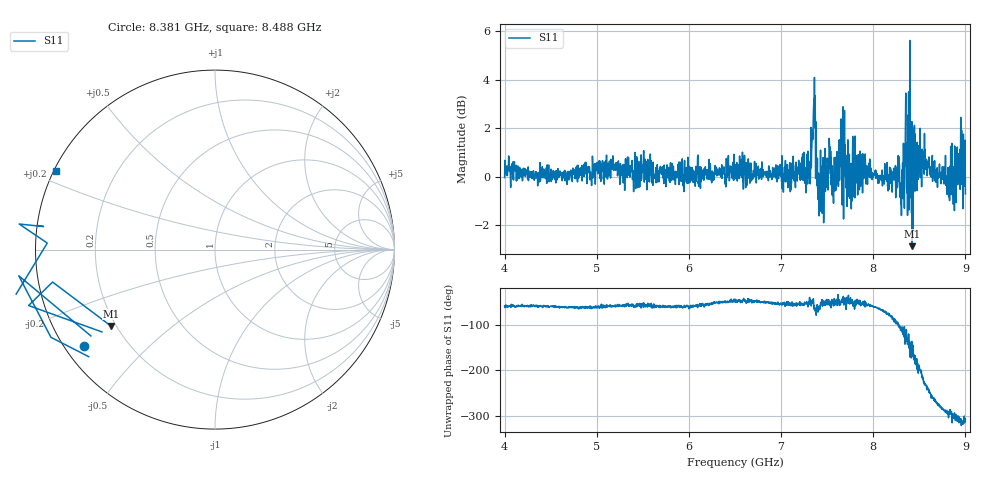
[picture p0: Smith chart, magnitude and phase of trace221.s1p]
! Created with skrf 1.8.0 (http://scikit-rf.org).
# Hz S RI R 50.0
!freq ReS11 ImS11
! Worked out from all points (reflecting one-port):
!   1601 points, 4 GHz to 9 GHz, reference 50 ohm
!   lowest |S11| = -2.9 dB at 8.422 GHz (marker M1), VSWR 6.13, Z = 9.01 - j15.9 ohm
!   phase of S11 starts at -57 deg and turns -251 deg over the sweep
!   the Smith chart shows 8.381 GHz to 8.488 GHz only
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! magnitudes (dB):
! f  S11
! 4 GHz  0.0
! 4.625 GHz  -0.2
! 5.25 GHz  -0.3
! 5.875 GHz  0.2
! 6.5 GHz  0.4
! 7.125 GHz  0.0
! 7.294 GHz  0.1
! 7.322 GHz  1.1
! 7.347 GHz  1.8
! 7.375 GHz  -0.1
! 7.4 GHz  -0.2
! 7.428 GHz  1.1
! 7.512 GHz  0.8
! 7.578 GHz  0.8
! 7.65 GHz  2.4
! 7.75 GHz  -0.7
! 7.891 GHz  0.3
! 8.259 GHz  0.2
! 8.312 GHz  0.3
! 8.334 GHz  -0.5
! 8.375 GHz  0.1
! 8.422 GHz  -2.9
! 8.425 GHz  -0.7
! 8.459 GHz  -0.6
! 8.553 GHz  0.1
! 8.812 GHz  0.4
! 8.959 GHz  1.9
! 9 GHz  -0.7
